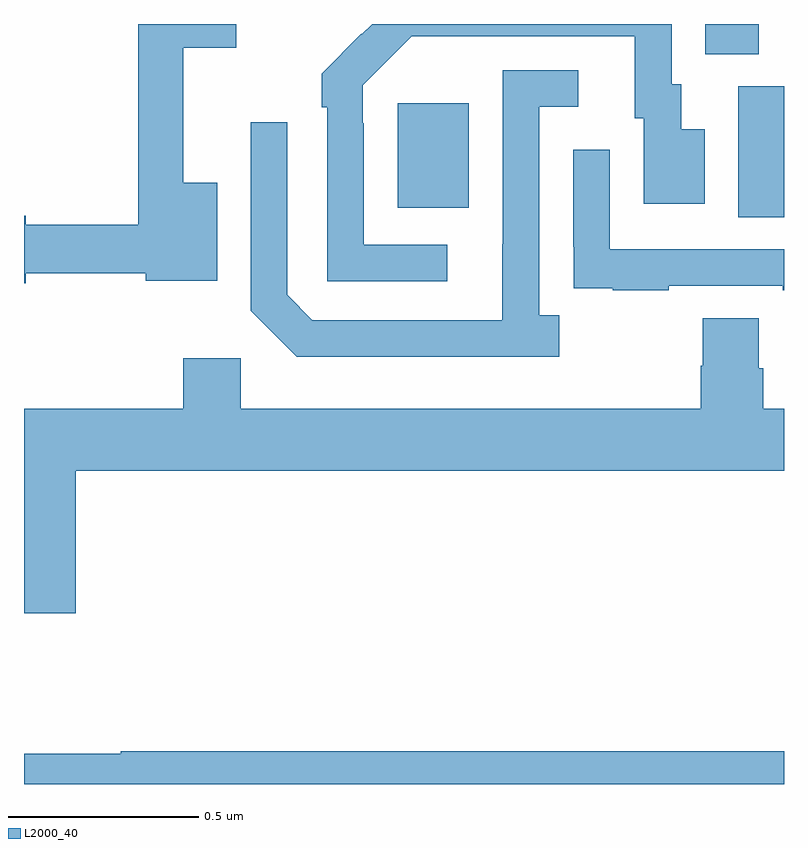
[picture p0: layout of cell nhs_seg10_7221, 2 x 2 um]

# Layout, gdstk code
import gdstk
lib = gdstk.Library(unit=1e-6, precision=1e-09)
def R(c, l, rs):  # rectangles x0, y0, x1, y1
    for r in rs: c.add(gdstk.rectangle(r[:2], r[2:], *l))
def P(c, l, *ps):  # polygons
    for p in ps: c.add(gdstk.Polygon(p, *l))
L2000_40 = (2000, 40)

nhs_seg10_7221 = lib.new_cell('nhs_seg10_7221')
R(nhs_seg10_7221, L2000_40, [(202.88,1292.992,203,1293.336), (201.983,1293.017,202.171,1293.292), (202.793,1293.421,202.933,1293.5)])
P(nhs_seg10_7221, L2000_40, [(202.114,1292.919),(201.894,1292.919),(201.894,1293.239),(201.891,1293.239),(201.891,1293.339),(202.02,1293.468),(202.607,1293.468),(202.607,1293.252),(202.631,1293.252),(202.631,1293.027),(202.792,1293.027),(202.792,1293.223),(202.729,1293.223),(202.729,1293.342),(202.704,1293.342),(202.704,1293.5),(201.916,1293.5),(201.889,1293.473),(201.888,1293.474),(201.783,1293.369),(201.783,1293.281),(201.798,1293.281),(201.798,1292.823),(202.114,1292.823)],
  [(201.004,1292.844),(201.32,1292.844),(201.32,1292.825),(201.508,1292.825),(201.508,1293.082),(201.419,1293.082),(201.419,1293.438),(201.559,1293.438),(201.559,1293.5),(201.301,1293.5),(201.301,1292.972),(201.004,1292.972),(201.004,1292.996),(201,1292.996),(201,1292.818),(201.004,1292.818)],
  [(202.408,1292.734),(202.356,1292.734),(202.356,1293.282),(202.459,1293.282),(202.459,1293.378),(202.26,1293.378),(202.26,1292.921),(202.259,1292.921),(202.259,1292.721),(201.759,1292.721),(201.693,1292.787),(201.693,1293.241),(201.597,1293.241),(201.597,1292.745),(201.718,1292.624),(202.408,1292.624)],
  [(202.697,1292.811),(202.997,1292.811),(202.997,1292.799),(203,1292.799),(203,1292.907),(202.542,1292.907),(202.542,1293.169),(202.446,1293.169),(202.446,1292.914),(202.447,1292.914),(202.447,1292.805),(202.549,1292.805),(202.549,1292.799),(202.697,1292.799)],
  [(201.136,1292.324),(203,1292.324),(203,1292.488),(202.946,1292.488),(202.946,1292.594),(202.933,1292.594),(202.933,1292.726),(202.786,1292.726),(202.786,1292.601),(202.781,1292.601),(202.781,1292.488),(201.57,1292.488),(201.57,1292.62),(201.419,1292.62),(201.419,1292.488),(201,1292.488),(201,1291.95),(201.136,1291.95)],
  [(203,1291.586),(201.255,1291.586),(201.255,1291.579),(201,1291.579),(201,1291.5),(203,1291.5)])

lib.write_gds('nhs_seg10_7221.gds')
